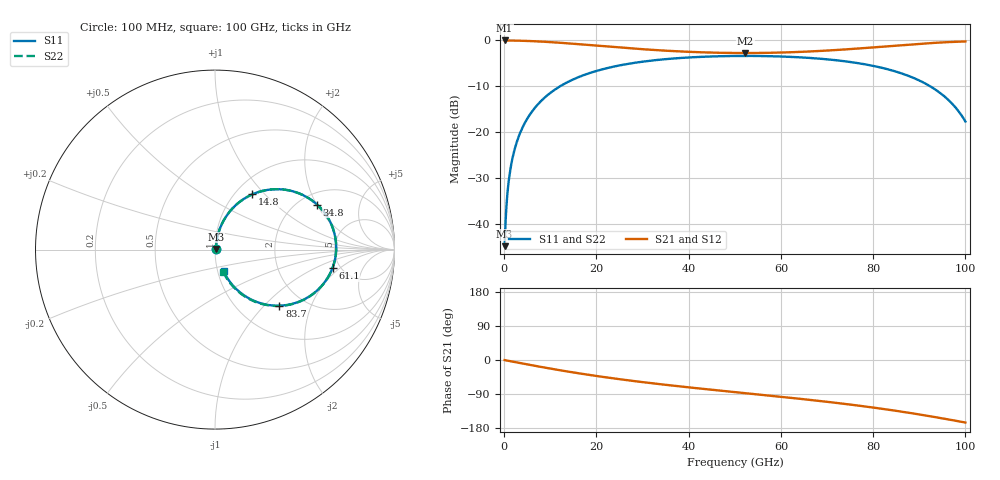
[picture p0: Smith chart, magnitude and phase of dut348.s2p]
! Touchstone file exported from HFSS 2026.1.0
!  File:  C:/ffzhzh/LocalFiles/Ansys_Project_Files/temp_train_RDL_348_1783503177_41296.aedt
!  Generated:  05:34:22 PM Jul  8, 2026
!  Design:  RDL
!  Project:  temp_train_RDL_348_1783503177_41296
! Variables:
!  h_bsmrdl = 2um
!  h_ox = 20um
!  h_rdl = 5um
!  h_sub = 80um
!  h_tmrdl = 2.49um
!  h_tsv = 80um
!  h_via = 3um
!  l_bsmrdl = 300um
!  l_sub = 945.48um
!  l_tmrdl = 545.48um
!  m_sub = 200um
!  pitch = 53.21um
!  r_tsv = 6um
!  s_tmrdl = 10um
!  w_bsmrdl = 18um
!  w_sub = 500um
!  w_tmrdl = 16.42um
!  x_tsv_center1 = 553.69um
!  x_tsv_center2 = 871.69um
!  x_tsv_center3 = 1433.59um
!  x_tsv_center4 = 1751.59um
!  x_tsv_center5 = 2313.49um
!  x_tsv_center6 = 2631.49um
# GHz S MA R 50.000000
! Terminal data exported
! Port[1] = TM_RDL1_1_T1
! Port[2] = TM_RDL1_1_T2
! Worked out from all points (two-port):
!   1000 points, 100 MHz to 100 GHz, reference 50 ohm
!   highest |S21| = -0.04 dB at 100 MHz (marker M1); lowest = -2.8 dB at 52.3 GHz (marker M2)
!   |S21| within 3 dB of the highest: start of sweep to end of sweep
!   lowest |S11| = -44.8 dB at 100 MHz (marker M3), VSWR 1.01, Z = 50.5 + j0.304 ohm
!   |S11| at or under -10 dB: start of sweep to 12.15 GHz; 92.34 GHz to end of sweep
!   |S22| runs from -44.8 to -3.4 dB; largest |S21 - S12| = 1.7e-14
!   S11 on the Smith chart (normalised r, x): 100 MHz: 1.01, +0.01; 14.8 GHz: 1.19, +0.85; 34.8 GHz: 2.47, +2.02; 61.1 GHz: 4.33, -1.57; 83.7 GHz: 1.52, -1.23; 100 GHz: 1.07, -0.26
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0.1  0.005744 31.6  0.9951 -0.2  0.9951 -0.2  0.005744 31.6
! Gamma 0 0 0 0
! Port Impedance 50 0 50 0
0.9  0.02681 75.6  0.9939 -2.1  0.9939 -2.1  0.02681 75.6
1.4  0.04068 78.2  0.9932 -3.3  0.9932 -3.3  0.04068 78.2
2.4  0.06851 79.1  0.9914 -5.6  0.9914 -5.6  0.06852 79.1
3.8  0.1072 77.6  0.9876 -8.8  0.9876 -8.8  0.1072 77.6
5.7  0.1586 74.2  0.9801 -13.2  0.9801 -13.2  0.1586 74.2
8.1  0.2207 69.4  0.9672 -18.5  0.9672 -18.5  0.2207 69.4
14.8  0.3715 55.9  0.9179 -32.4  0.9179 -32.4  0.3715 55.9
16.8  0.4094 52.2  0.9013 -36.3  0.9013 -36.3  0.4095 52.2
24.3  0.5237 39.2  0.8398 -49.5  0.8398 -49.5  0.5237 39.2
33.4  0.612 25.7  0.7788 -63.3  0.7788 -63.3  0.612 25.7
34.8  0.6216 23.8  0.7713 -65.2  0.7713 -65.2  0.6217 23.8
50.1  0.6747 4.5  0.727 -84.8  0.727 -84.8  0.6748 4.5
52.3  0.6755 1.9  0.7263 -87.5  0.7263 -87.5  0.6756 1.8
61.1  0.6627 -8.8  0.7377 -98.5  0.7377 -98.5  0.6628 -8.9
66.7  0.6399 -16.0  0.7568 -105.8  0.7568 -105.8  0.6401 -16.0
74.9  0.5815 -27.3  0.8007 -117.4  0.8007 -117.4  0.5816 -27.4
83.4  0.4799 -40.6  0.8623 -131.3  0.8623 -131.3  0.4801 -40.8
83.7  0.4754 -41.1  0.8646 -131.8  0.8646 -131.8  0.4756 -41.3
93.5  0.2904 -58.5  0.9382 -150.8  0.9382 -150.8  0.2905 -59.1
96.9  0.2096 -64.4  0.9578 -158.1  0.9578 -158.1  0.2097 -65.3
100  0.1305 -68.4  0.9703 -165.0  0.9703 -165.0  0.1304 -70.0
